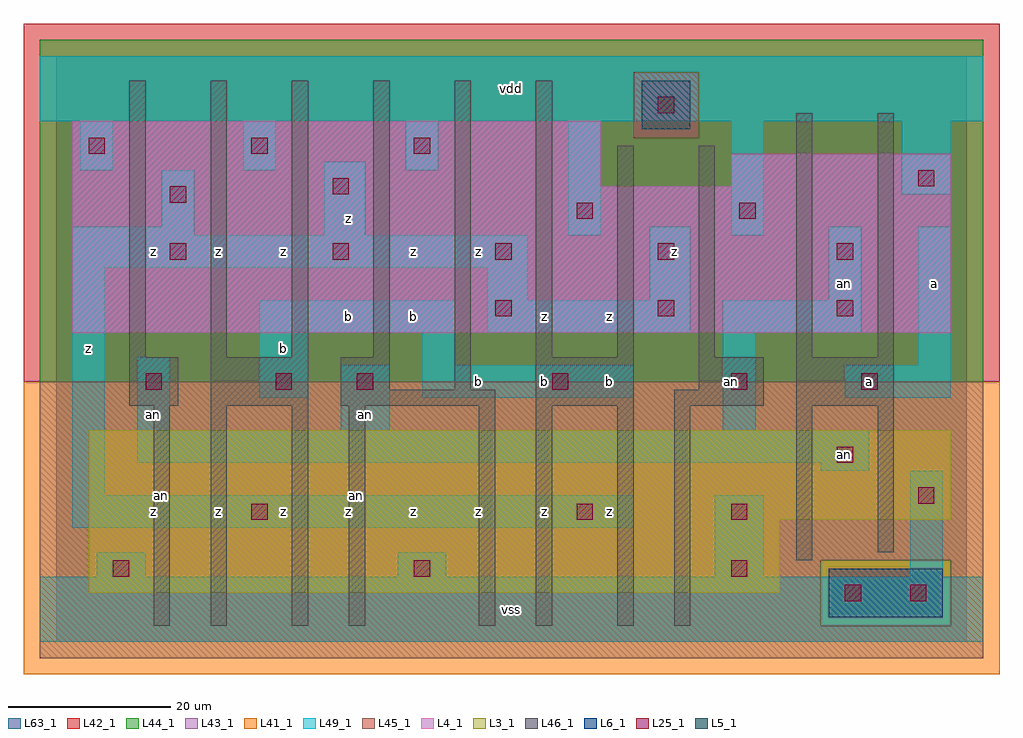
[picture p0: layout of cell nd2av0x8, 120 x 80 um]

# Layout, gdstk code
import gdstk
lib = gdstk.Library(unit=1e-6, precision=1e-09)
def R(c, l, rs):  # rectangles x0, y0, x1, y1
    for r in rs: c.add(gdstk.rectangle(r[:2], r[2:], *l))
def A(c, l, x, y, w, h, nx, ny, dx, dy):  # array of equal rectangles
    R(c, l, [(x+i*dx, y+j*dy, x+i*dx+w, y+j*dy+h) for i in range(nx) for j in range(ny)])
L3_1 = (3, 1)
L4_1 = (4, 1)
L5_1 = (5, 1)
L6_1 = (6, 1)
L25_1 = (25, 1)
L41_1 = (41, 1)
L42_1 = (42, 1)
L43_1 = (43, 1)
L44_1 = (44, 1)
L45_1 = (45, 1)
L46_1 = (46, 1)
L49_1 = (49, 1)
L63_1 = (63, 1)

nd2av0x8 = lib.new_cell('nd2av0x8')
R(nd2av0x8, L3_1, [(4,6,89,15), (4,15,110,26)])
R(nd2av0x8, L4_1, [(2,38,110,56), (2,56,67,64), (83,56,110,60)])
R(nd2av0x8, L5_1, [(72,63,78,69)])
R(nd2av0x8, L6_1, [(95,3,109,9), (95,3,109,9)])
A(nd2av0x8, L25_1, 14, 47, 2, 2, 4, 1, 20, 0)
A(nd2av0x8, L25_1, 4, 60, 2, 2, 3, 1, 20, 0)
R(nd2av0x8, L25_1, [(97,5,99,7), (105,5,107,7), (7,8,9,10), (44,8,46,10), (83,8,85,10), (24,15,26,17), (64,15,66,17), (83,15,85,17), (106,17,108,19), (96,22,98,24), (11,31,13,33), (27,31,29,33), (37,31,39,33), (61,31,63,33), (83,31,85,33), (99,31,101,33), (54,40,56,42), (74,40,76,42), (96,40,98,42), (96,47,98,49), (64,52,66,54), (84,52,86,54), (14,54,16,56), (34,55,36,57), (106,56,108,58), (74,65,76,67)])
R(nd2av0x8, L41_1, [(-4,-4,116,32)])
R(nd2av0x8, L42_1, [(-4,32,116,76)])
R(nd2av0x8, L43_1, [(95,3,109,9), (4,6,89,15), (4,15,110,26), (2,38,110,56), (2,56,67,64), (83,56,110,60), (72,63,78,69)])
R(nd2av0x8, L44_1, [(94,2,110,10), (-2,32,114,62), (-2,62,71,70), (79,62,114,70), (-2,70,114,74)])
R(nd2av0x8, L45_1, [(-2,-2,114,2), (-2,2,94,10), (110,2,114,10), (-2,10,114,32), (71,62,79,70)])
A(nd2av0x8, L46_1, 9, 35, 2, 34, 4, 1, 10, 0)
R(nd2av0x8, L46_1, [(12,2,14,29), (19,2,21,29), (29,2,31,29), (36,2,38,29), (52,2,54,29), (59,2,61,29), (69,2,71,29), (76,2,78,29), (91,10,93,29), (101,11,103,29), (9,29,15,35), (19,29,31,35), (35,29,54,31), (59,29,71,35), (76,29,87,31), (91,29,103,35), (35,31,41,35), (49,31,51,69), (79,31,87,35), (59,35,61,69), (69,35,71,61), (79,35,81,61), (91,35,93,65), (101,35,103,65)])
A(nd2av0x8, L49_1, 3, 58, 4, 6, 3, 1, 20, 0)
R(nd2av0x8, L49_1, [(-2,0,114,8), (5,8,11,11), (42,8,48,11), (81,8,87,18), (105,8,109,21), (2,14,71,18), (2,18,6,46), (94,21,100,22), (10,22,100,26), (10,26,14,35), (35,26,41,34), (82,26,86,38), (25,30,31,38), (45,30,71,34), (97,30,110,34), (45,34,49,38), (106,34,110,51), (25,38,49,42), (53,38,78,42), (82,38,99,42), (53,42,58,46), (73,42,78,51), (95,42,99,51), (2,46,58,50), (2,50,17,51), (33,50,38,59), (63,50,67,64), (83,50,87,64), (13,51,17,58), (104,55,110,64), (-2,64,114,72)])
R(nd2av0x8, L63_1, [(0,0,112,72)])
nd2av0x8.add(gdstk.Label('an', (13,18), layer=46, texttype=1))
nd2av0x8.add(gdstk.Label('an', (37,18), layer=46, texttype=1))
nd2av0x8.add(gdstk.Label('an', (83,32), layer=49, texttype=1))
nd2av0x8.add(gdstk.Label('z', (12,16), layer=49, texttype=1))
nd2av0x8.add(gdstk.Label('an', (12,28), layer=49, texttype=1))
nd2av0x8.add(gdstk.Label('z', (4,36), layer=49, texttype=1))
nd2av0x8.add(gdstk.Label('z', (12,48), layer=49, texttype=1))
nd2av0x8.add(gdstk.Label('z', (28,16), layer=49, texttype=1))
nd2av0x8.add(gdstk.Label('z', (36,16), layer=49, texttype=1))
nd2av0x8.add(gdstk.Label('z', (20,16), layer=49, texttype=1))
nd2av0x8.add(gdstk.Label('an', (38,28), layer=49, texttype=1))
nd2av0x8.add(gdstk.Label('b', (36,40), layer=49, texttype=1))
nd2av0x8.add(gdstk.Label('b', (28,36), layer=49, texttype=1))
nd2av0x8.add(gdstk.Label('z', (20,48), layer=49, texttype=1))
nd2av0x8.add(gdstk.Label('z', (36,52), layer=49, texttype=1))
nd2av0x8.add(gdstk.Label('z', (28,48), layer=49, texttype=1))
nd2av0x8.add(gdstk.Label('vss', (56,4), layer=49, texttype=1))
nd2av0x8.add(gdstk.Label('z', (52,16), layer=49, texttype=1))
nd2av0x8.add(gdstk.Label('z', (60,16), layer=49, texttype=1))
nd2av0x8.add(gdstk.Label('z', (44,16), layer=49, texttype=1))
nd2av0x8.add(gdstk.Label('b', (52,32), layer=49, texttype=1))
nd2av0x8.add(gdstk.Label('b', (60,32), layer=49, texttype=1))
nd2av0x8.add(gdstk.Label('b', (44,40), layer=49, texttype=1))
nd2av0x8.add(gdstk.Label('z', (60,40), layer=49, texttype=1))
nd2av0x8.add(gdstk.Label('z', (44,48), layer=49, texttype=1))
nd2av0x8.add(gdstk.Label('z', (52,48), layer=49, texttype=1))
nd2av0x8.add(gdstk.Label('vdd', (56,68), layer=49, texttype=1))
nd2av0x8.add(gdstk.Label('z', (68,16), layer=49, texttype=1))
nd2av0x8.add(gdstk.Label('an', (84,32), layer=49, texttype=1))
nd2av0x8.add(gdstk.Label('b', (68,32), layer=49, texttype=1))
nd2av0x8.add(gdstk.Label('z', (68,40), layer=49, texttype=1))
nd2av0x8.add(gdstk.Label('z', (76,48), layer=49, texttype=1))
nd2av0x8.add(gdstk.Label('an', (97,23), layer=49, texttype=1))
nd2av0x8.add(gdstk.Label('a', (100,32), layer=49, texttype=1))
nd2av0x8.add(gdstk.Label('a', (108,44), layer=49, texttype=1))
nd2av0x8.add(gdstk.Label('an', (97,44), layer=49, texttype=1))

lib.write_gds('nd2av0x8.gds')
